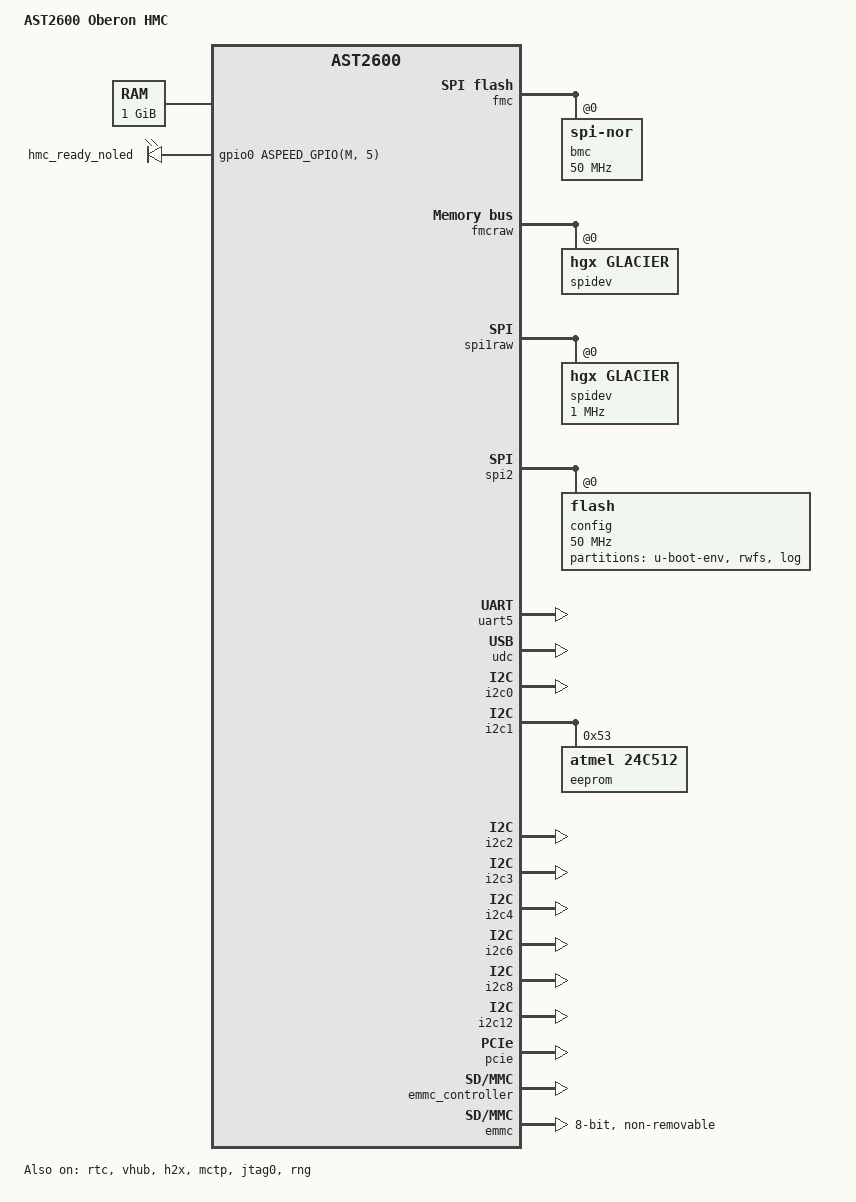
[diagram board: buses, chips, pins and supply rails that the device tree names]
// SPDX-License-Identifier: GPL-2.0+
/dts-v1/;

#include "nvidia-oberon-hmc-core.dtsi"
#include <dt-bindings/leds/common.h>

/ {
	model = "AST2600 Oberon HMC";
	compatible = "aspeed,ast2600";

	aliases {
		serial4 = &uart5;
	};

	chosen {
		stdout-path = &uart5;
		bootargs = "console=tty0 console=ttyS4,115200 earlyprintk";
	};

	memory@80000000 {
		reg = <0x80000000 0x40000000>;
	};

	reserved-memory {
		#address-cells = <1>;
		#size-cells = <1>;
		ranges;

		ramoops@a0000000 {
			compatible = "ramoops";
			reg = <0xa0000000 0x100000>; /* 1MB */
			record-size = <0x10000>; /* 64KB */
			max-reason = <2>; /* KMSG_DUMP_OOPS */
		};

		mctp_reserved: mctp_reserved@b1000000 {
			reg = <0xb1000000 0x40000>; /* 256KB */
			compatible = "shared-dma-pool";
			no-map;
		};
	};

        power-gpios{
                n2-gpios = <&gpio0 ASPEED_GPIO(N, 2) (GPIO_ACTIVE_HIGH|GPIO_PULL_UP)>;
                n3-gpios = <&gpio0 ASPEED_GPIO(N, 3) (GPIO_ACTIVE_HIGH|GPIO_PULL_UP)>;
        };
        leds {
            compatible = "gpio-leds";
            // Non-LEDs:
            //   HMC_READY-O GPIO pin (not an LED) is being bound to the GPIO LED driver.
            // Notes:
            // * This a workaround and leverages the GPIO LED driver to enable control of
            //   reset tolerance and still allow the GPIO to be controlled from user space.
            // * The standard Linux GPIO driver allows control of reset tolerance, however
            //   does not expose user space APIs for user space control of the GPIO pin.
            // * GPIO_TRANSITORY = reset tolerance is disabled
            // * Any non-leds should be added below this line.
            hmc_ready_noled {
                gpios = <&gpio0 ASPEED_GPIO(M, 5) (GPIO_ACTIVE_HIGH|GPIO_TRANSITORY)>;
            };
        };
};





&fmc {
    status = "okay";
    flash@0 {
        status = "okay";
        compatible = "jedec,spi-nor";
        label = "bmc";
        spi-max-frequency = <50000000>;
#include "aspeed-bmc-nvidia-gh-flash-layout-64.dtsi"
    };
};

&fmcraw {
    status = "okay";
    spidev@0 {
        compatible = "hgx,glacier";
        status = "okay";
    };
};

&spi1raw {
    status = "okay";
    pinctrl-names = "default";
    pinctrl-0 = <&pinctrl_spi1_default>;
    spidev@0 {
        spi-max-frequency = <1000000>;
        compatible = "hgx,glacier";
        status = "okay";
    };
};

&spi2 {
    status = "okay";
    pinctrl-names = "default";
    pinctrl-0 = <&pinctrl_spi2_default>;

    // Data SPI is 64MB in size
    flash@0 {
        status = "okay";
        label = "config";
        spi-max-frequency = <50000000>;
        partitions {
            compatible = "fixed-partitions";
            #address-cells = <1>;
            #size-cells = <1>;

            u-boot-env@0 {
                reg = <0x0 0x40000>;            // 256KB at offset 0
                label = "u-boot-env";
            };

            rwfs@40000 {
                reg = <0x40000 0x1000000>;      // 16MB at offset 0x40000
                label = "rwfs";
            };

            log@0x1040000 {
                reg = <0x1040000 0x2800000>;    // 40MB at offset 0x1040000
                label = "log";                  // Move log to EMMC, make this unused
            };
        };
    };
};

&rtc {
        status = "okay";
};


&uart5 {
	// BMC Debug Console
	status = "okay";
};

/*
 * Enable port A as device (via the virtual hub) and port B as
 * host by default on the eval board. This can be easily changed
 * by replacing the override below with &ehci0 { ... } to enable
 * host on both ports.
 */
&vhub {
   status = "okay";
};
// USB 2.0 to HMC & Host BMC connectivity
&udc {
    status = "okay";
};

&i2c0 {             
    status = "okay";
    bus-frequency = <400000>;
};                  


&i2c1 {
    status = "okay";
    bus-frequency = <400000>;
        eeprom@53 {
        compatible = "atmel,24c512";
               reg = <0x53>;
               pagesize = <128>;
               size = <65536>;
            };
};

&i2c2 {             
    status = "okay";
    bus-frequency = <400000>;
};                  
&i2c3 {
    status = "okay";
    bus-frequency = <400000>;
    multi-master;
};
&i2c4 {
    status = "okay";
    bus-frequency = <400000>;
};
&i2c5 {
    status = "disabled";
};
&i2c6 {
    status = "okay";
    bus-frequency = <400000>;
};
&i2c7 {
    status = "disabled";
};
&i2c8 {
    status = "okay";
};
&i2c9 {
    status = "disabled";
};
&i2c10 {
    status = "disabled";
};
&i2c11 {
    status = "disabled";
};
&i2c12 {
    status = "okay";
    bus-frequency = <400000>;
};
&i2c13 {
    status = "disabled";
};
&i2c14 {
    status = "disabled";
};
&i2c15 {
    status = "disabled";
};

// PCIe RC
&pcie {
        status = "okay";

        interrupts = <GIC_SPI 168 IRQ_TYPE_LEVEL_HIGH>;

        pcie_intc0: legacy-interrupt-controller {
                interrupts = <GIC_SPI 168 IRQ_TYPE_EDGE_RISING>;
        };
};
// Bridge between AHB bus and PCIe RC.
&h2x {
        status = "okay";
};

&mctp {
    status = "okay";
    memory-region = <&mctp_reserved>;
};

&jtag0 {
    mux-gpios = <&gpio0 186 (GPIO_ACTIVE_HIGH | GPIO_PULL_UP)>;
    status = "okay";
};

// Enable emmc
&emmc_controller {
    status = "okay";
};

&emmc {
    non-removable;
    bus-width = <8>;
    pinctrl-0 = <&pinctrl_emmcg8_default>;
    clk-phase-mmc-hs200 = <9>, <225>;
    max-frequency = <200000000>;
};

&rng {
        status = "okay";
};
